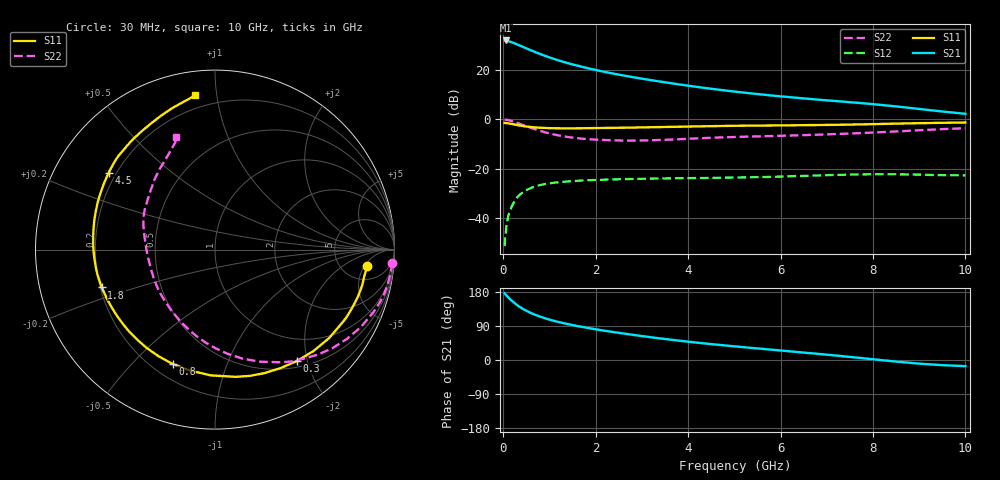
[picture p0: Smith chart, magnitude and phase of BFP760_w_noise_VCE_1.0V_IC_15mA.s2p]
! Infineon Technologies  Discrete & RF Semiconductors
! BFP760
! VCE =  1.0 V,  IC =  15 mA
! Common Emitter S-Parameters:  Nov 2012
# GHz  S  MA  R  50
!  f  S11  S21  S12  S22
! GHz  MAG  ANG  MAG  ANG  MAG  ANG  MAG  ANG
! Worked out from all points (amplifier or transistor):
!   99 points, 30 MHz to 10 GHz, reference 50 ohm
!   highest |S21| = 32.0 dB at 50 MHz (marker M1)
!   |S21| within 3 dB of that: start of sweep to 473.7 MHz
!   unconditionally stable (mu >= 1): 5.065 GHz to end of sweep
!   at 350 MHz: K = 0.17, MSG = 30.3 dB, |S12| = -30.6 dB
!   at 3.5 GHz: K = 0.80, MSG = 19.5 dB, |S12| = -23.9 dB
!   at 10 GHz: K = 1.19, MAG = 9.9 dB, |S12| = -22.7 dB
!   lowest NFmin = 0.56 dB at 900 MHz
!   S11 on the Smith chart (normalised r, x): 30 MHz: 9, -6; 300 MHz: 0.60, -1.82; 800 MHz: 0.28, -0.66; 1.8 GHz: 0.21, -0.16; 4.5 GHz: 0.17, +0.32; 10 GHz: 0.13, +0.87
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0.03  0.8501 -6.1  39.45 176.1  0.0027 86.3  0.9897 -4.3
0.05  0.8448 -9.9  39.88 172.8  0.0044 92.7  0.9865 -7.2
0.11  0.8323 -21.5  38.65 165.0  0.0112 77.5  0.9695 -15.9
0.15  0.8199 -29.0  37.67 160.2  0.0144 75.8  0.9494 -21.5
0.25  0.7877 -45.9  34.76 149.7  0.0225 66.7  0.887 -34.2
0.3  0.7702 -53.7  33.22 145.0  0.0262 63.3  0.8547 -39.9
0.4  0.7414 -68.1  30.3 136.8  0.032 56.8  0.7868 -50.3
0.5  0.7186 -80.6  27.55 130.0  0.037 51.2  0.7273 -59.7
0.6  0.7012 -91.9  25.18 124.0  0.0408 46.7  0.673 -68.1
0.8  0.6793 -110.4  21.17 114.3  0.0468 39.4  0.5862 -82.9
1  0.6671 -124.8  18.09 106.6  0.0506 33.9  0.521 -95.7
1.2  0.6611 -136.5  15.7 100.2  0.0534 30.0  0.4742 -106.8
1.4  0.6592 -146.2  13.81 94.7  0.0554 27.0  0.441 -116.6
1.7  0.6622 -158.1  11.68 87.5  0.0577 23.5  0.4074 -129.7
1.8  0.6651 -161.5  11.1 85.3  0.0584 22.5  0.4016 -133.7
2.5  0.6783 178.9  8.098 71.7  0.0613 17.6  0.3747 -157.6
3.4  0.7 160.5  5.844 56.9  0.0635 13.9  0.3836 178.6
4.5  0.7306 144.1  4.186 41.9  0.0654 11.4  0.425 159.9
5.1  0.745 138.1  3.588 35.0  0.0668 10.9  0.4439 153.1
6.7  0.7687 125.3  2.573 17.5  0.0728 8.7  0.4875 137.4
8.5  0.8225 107.1  1.837 -4.2  0.0774 0.7  0.5709 119.2
10  0.8671 97.4  1.3 -16.2  0.0736 -1.8  0.6633 108.9
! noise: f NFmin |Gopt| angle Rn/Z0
0.9  0.56  0.13  32  0.08
1.8  0.6  0.06  78  0.08
2.4  0.66  0.07  133  0.08
3.5  0.78  0.08  168  0.08
5.5  1.01  0.26  -130  0.08
8  1.36  0.39  -91  0.26
